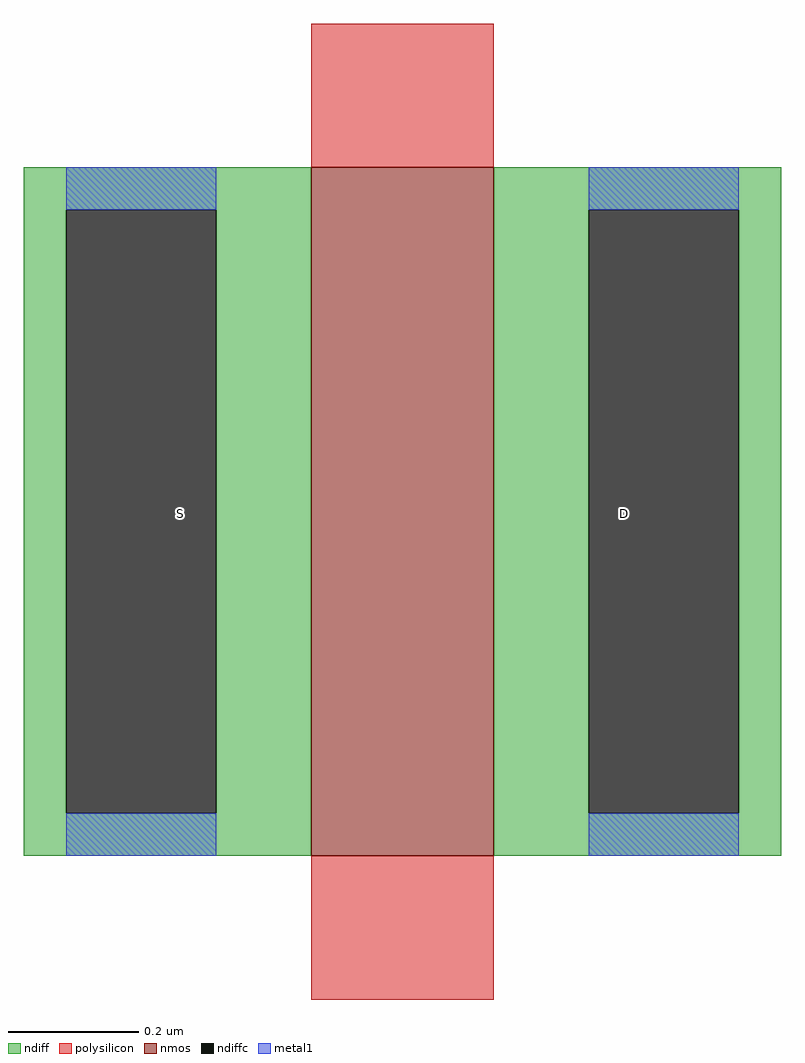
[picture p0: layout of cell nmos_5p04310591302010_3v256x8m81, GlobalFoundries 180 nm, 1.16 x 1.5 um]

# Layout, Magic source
magic
tech gf180mcuD
magscale 1 10
<< nmos >>
rect 0 0 56 211
<< ndiff >>
rect -88 198 0 211
rect -88 13 -75 198
rect -29 13 0 198
rect -88 0 0 13
rect 56 198 144 211
rect 56 13 85 198
rect 131 13 144 198
rect 56 0 144 13
<< ndiffc >>
rect -75 13 -29 198
rect 85 13 131 198
<< polysilicon >>
rect 0 211 56 255
rect 0 -44 56 0
<< metal1 >>
rect -75 198 -29 211
rect -75 0 -29 13
rect 85 198 131 211
rect 85 0 131 13
<< labels >>
flabel ndiffc -40 105 -40 105 0 FreeSans 93 0 0 0 S
flabel ndiffc 96 105 96 105 0 FreeSans 93 0 0 0 D
<< end >>
